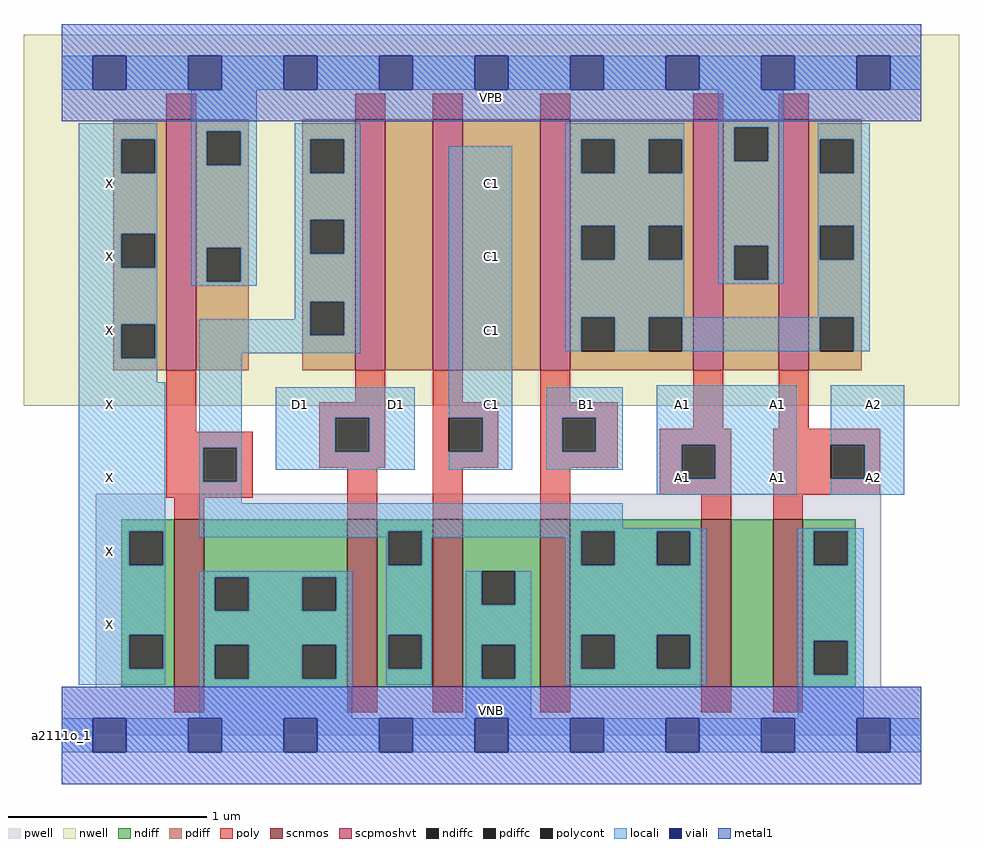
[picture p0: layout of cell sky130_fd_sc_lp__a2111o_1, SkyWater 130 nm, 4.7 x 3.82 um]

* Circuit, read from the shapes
.subckt sky130_fd_sc_lp__a2111o_1 A1 A2 B1 C1 D1 VGND VNB VPB VPWR X
XM1 VGND n1 X VNB sky130_fd_pr__nfet_01v8 w=0.84 l=0.15
XM2 n1 D1 VGND VNB sky130_fd_pr__nfet_01v8 w=0.84 l=0.15
XM3 VGND C1 n1 VNB sky130_fd_pr__nfet_01v8 w=0.84 l=0.15
XM4 n1 B1 VGND VNB sky130_fd_pr__nfet_01v8 w=0.84 l=0.15
XM5 n2 A1 n1 VNB sky130_fd_pr__nfet_01v8 w=0.84 l=0.15
XM6 VGND A2 n2 VNB sky130_fd_pr__nfet_01v8 w=0.84 l=0.15
XM7 VPWR n1 X VPB sky130_fd_pr__pfet_01v8_hvt w=1.26 l=0.15
XM8 n3 D1 n1 VPB sky130_fd_pr__pfet_01v8_hvt w=1.26 l=0.15
XM9 n4 C1 n3 VPB sky130_fd_pr__pfet_01v8_hvt w=1.26 l=0.15
XM10 n5 B1 n4 VPB sky130_fd_pr__pfet_01v8_hvt w=1.26 l=0.15
XM11 VPWR A1 n5 VPB sky130_fd_pr__pfet_01v8_hvt w=1.26 l=0.15
XM12 n5 A2 VPWR VPB sky130_fd_pr__pfet_01v8_hvt w=1.26 l=0.15
.ends

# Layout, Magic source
magic
tech sky130A
magscale 1 2
<< nwell >>
rect -38 331 902 704
<< pwell >>
rect 34 49 824 243
rect 0 0 864 49
<< scnmos >>
rect 113 49 143 217
rect 287 49 317 217
rect 373 49 403 217
rect 481 49 511 217
rect 643 49 673 217
rect 715 49 745 217
<< scpmoshvt >>
rect 105 367 135 619
rect 295 367 325 619
rect 373 367 403 619
rect 481 367 511 619
rect 635 367 665 619
rect 721 367 751 619
<< ndiff >>
rect 60 205 113 217
rect 60 171 68 205
rect 102 171 113 205
rect 60 101 113 171
rect 60 67 68 101
rect 102 67 113 101
rect 60 49 113 67
rect 143 159 287 217
rect 143 125 154 159
rect 188 125 242 159
rect 276 125 287 159
rect 143 91 287 125
rect 143 57 154 91
rect 188 57 242 91
rect 276 57 287 91
rect 143 49 287 57
rect 317 205 373 217
rect 317 171 328 205
rect 362 171 373 205
rect 317 101 373 171
rect 317 67 328 101
rect 362 67 373 101
rect 317 49 373 67
rect 403 165 481 217
rect 403 131 422 165
rect 456 131 481 165
rect 403 91 481 131
rect 403 57 422 91
rect 456 57 481 91
rect 403 49 481 57
rect 511 205 643 217
rect 511 171 522 205
rect 556 171 598 205
rect 632 171 643 205
rect 511 101 643 171
rect 511 67 522 101
rect 556 67 598 101
rect 632 67 643 101
rect 511 49 643 67
rect 673 49 715 217
rect 745 205 798 217
rect 745 171 756 205
rect 790 171 798 205
rect 745 95 798 171
rect 745 61 756 95
rect 790 61 798 95
rect 745 49 798 61
<< pdiff >>
rect 52 599 105 619
rect 52 565 60 599
rect 94 565 105 599
rect 52 504 105 565
rect 52 470 60 504
rect 94 470 105 504
rect 52 413 105 470
rect 52 379 60 413
rect 94 379 105 413
rect 52 367 105 379
rect 135 607 188 619
rect 135 573 146 607
rect 180 573 188 607
rect 135 490 188 573
rect 135 456 146 490
rect 180 456 188 490
rect 135 367 188 456
rect 242 599 295 619
rect 242 565 250 599
rect 284 565 295 599
rect 242 518 295 565
rect 242 484 250 518
rect 284 484 295 518
rect 242 436 295 484
rect 242 402 250 436
rect 284 402 295 436
rect 242 367 295 402
rect 325 367 373 619
rect 403 367 481 619
rect 511 599 635 619
rect 511 565 522 599
rect 556 565 590 599
rect 624 565 635 599
rect 511 512 635 565
rect 511 478 522 512
rect 556 478 590 512
rect 624 478 635 512
rect 511 420 635 478
rect 511 386 522 420
rect 556 386 590 420
rect 624 386 635 420
rect 511 367 635 386
rect 665 611 721 619
rect 665 577 676 611
rect 710 577 721 611
rect 665 492 721 577
rect 665 458 676 492
rect 710 458 721 492
rect 665 367 721 458
rect 751 599 804 619
rect 751 565 762 599
rect 796 565 804 599
rect 751 512 804 565
rect 751 478 762 512
rect 796 478 804 512
rect 751 420 804 478
rect 751 386 762 420
rect 796 386 804 420
rect 751 367 804 386
<< ndiffc >>
rect 68 171 102 205
rect 68 67 102 101
rect 154 125 188 159
rect 242 125 276 159
rect 154 57 188 91
rect 242 57 276 91
rect 328 171 362 205
rect 328 67 362 101
rect 422 131 456 165
rect 422 57 456 91
rect 522 171 556 205
rect 598 171 632 205
rect 522 67 556 101
rect 598 67 632 101
rect 756 171 790 205
rect 756 61 790 95
<< pdiffc >>
rect 60 565 94 599
rect 60 470 94 504
rect 60 379 94 413
rect 146 573 180 607
rect 146 456 180 490
rect 250 565 284 599
rect 250 484 284 518
rect 250 402 284 436
rect 522 565 556 599
rect 590 565 624 599
rect 522 478 556 512
rect 590 478 624 512
rect 522 386 556 420
rect 590 386 624 420
rect 676 577 710 611
rect 676 458 710 492
rect 762 565 796 599
rect 762 478 796 512
rect 762 386 796 420
<< poly >>
rect 105 619 135 645
rect 295 619 325 645
rect 373 619 403 645
rect 481 619 511 645
rect 635 619 665 645
rect 721 619 751 645
rect 105 305 135 367
rect 295 335 325 367
rect 259 319 325 335
rect 105 289 192 305
rect 105 255 142 289
rect 176 255 192 289
rect 259 285 275 319
rect 309 285 325 319
rect 259 269 325 285
rect 373 335 403 367
rect 481 335 511 367
rect 373 319 439 335
rect 373 285 389 319
rect 423 285 439 319
rect 373 269 439 285
rect 481 319 559 335
rect 481 285 503 319
rect 537 285 559 319
rect 635 308 665 367
rect 721 308 751 367
rect 481 269 559 285
rect 601 292 673 308
rect 105 239 192 255
rect 113 217 143 239
rect 287 217 317 269
rect 373 217 403 269
rect 481 217 511 269
rect 601 258 623 292
rect 657 258 673 292
rect 601 242 673 258
rect 643 217 673 242
rect 715 292 823 308
rect 715 258 773 292
rect 807 258 823 292
rect 715 242 823 258
rect 715 217 745 242
rect 113 23 143 49
rect 287 23 317 49
rect 373 23 403 49
rect 481 23 511 49
rect 643 23 673 49
rect 715 23 745 49
<< polycont >>
rect 142 255 176 289
rect 275 285 309 319
rect 389 285 423 319
rect 503 285 537 319
rect 623 258 657 292
rect 773 258 807 292
<< locali >>
rect 0 649 31 683
rect 65 649 127 683
rect 161 649 223 683
rect 257 649 319 683
rect 353 649 415 683
rect 449 649 511 683
rect 545 649 607 683
rect 641 649 703 683
rect 737 649 799 683
rect 833 649 864 683
rect 17 599 96 615
rect 17 565 60 599
rect 94 565 96 599
rect 17 504 96 565
rect 17 470 60 504
rect 94 470 96 504
rect 17 413 96 470
rect 130 607 196 649
rect 130 573 146 607
rect 180 573 196 607
rect 130 490 196 573
rect 130 456 146 490
rect 180 456 196 490
rect 130 452 196 456
rect 234 599 300 615
rect 234 565 250 599
rect 284 565 300 599
rect 506 599 626 615
rect 234 518 300 565
rect 234 484 250 518
rect 284 484 300 518
rect 234 436 300 484
rect 234 418 250 436
rect 17 379 60 413
rect 94 379 96 413
rect 17 355 96 379
rect 138 402 250 418
rect 284 402 300 436
rect 138 384 300 402
rect 17 205 104 355
rect 17 171 68 205
rect 102 171 104 205
rect 138 289 181 384
rect 138 255 142 289
rect 176 255 181 289
rect 215 319 355 350
rect 215 285 275 319
rect 309 285 355 319
rect 215 267 355 285
rect 389 319 453 592
rect 506 565 522 599
rect 556 565 590 599
rect 624 565 626 599
rect 506 512 626 565
rect 506 478 522 512
rect 556 478 590 512
rect 624 478 626 512
rect 506 420 626 478
rect 660 611 726 649
rect 660 577 676 611
rect 710 577 726 611
rect 660 492 726 577
rect 660 458 676 492
rect 710 458 726 492
rect 660 454 726 458
rect 760 599 812 615
rect 760 565 762 599
rect 796 565 812 599
rect 760 512 812 565
rect 760 478 762 512
rect 796 478 812 512
rect 760 420 812 478
rect 506 386 522 420
rect 556 386 590 420
rect 624 386 762 420
rect 796 386 812 420
rect 423 285 453 319
rect 389 267 453 285
rect 487 319 564 350
rect 487 285 503 319
rect 537 285 564 319
rect 487 267 564 285
rect 598 292 739 352
rect 138 233 181 255
rect 598 258 623 292
rect 657 258 739 292
rect 598 242 739 258
rect 773 292 847 352
rect 807 258 847 292
rect 773 242 847 258
rect 138 208 564 233
rect 138 205 648 208
rect 138 199 328 205
rect 17 101 104 171
rect 326 171 328 199
rect 362 199 522 205
rect 362 171 372 199
rect 17 67 68 101
rect 102 67 104 101
rect 17 51 104 67
rect 138 159 292 165
rect 138 125 154 159
rect 188 125 242 159
rect 276 125 292 159
rect 138 91 292 125
rect 138 57 154 91
rect 188 57 242 91
rect 276 57 292 91
rect 138 17 292 57
rect 326 101 372 171
rect 506 171 522 199
rect 556 171 598 205
rect 632 171 648 205
rect 326 67 328 101
rect 362 67 372 101
rect 326 51 372 67
rect 406 131 422 165
rect 456 131 472 165
rect 406 91 472 131
rect 406 57 422 91
rect 456 57 472 91
rect 406 17 472 57
rect 506 101 648 171
rect 506 67 522 101
rect 556 67 598 101
rect 632 67 648 101
rect 506 51 648 67
rect 740 205 806 208
rect 740 171 756 205
rect 790 171 806 205
rect 740 95 806 171
rect 740 61 756 95
rect 790 61 806 95
rect 740 17 806 61
rect 0 -17 31 17
rect 65 -17 127 17
rect 161 -17 223 17
rect 257 -17 319 17
rect 353 -17 415 17
rect 449 -17 511 17
rect 545 -17 607 17
rect 641 -17 703 17
rect 737 -17 799 17
rect 833 -17 864 17
<< viali >>
rect 31 649 65 683
rect 127 649 161 683
rect 223 649 257 683
rect 319 649 353 683
rect 415 649 449 683
rect 511 649 545 683
rect 607 649 641 683
rect 703 649 737 683
rect 799 649 833 683
rect 31 -17 65 17
rect 127 -17 161 17
rect 223 -17 257 17
rect 319 -17 353 17
rect 415 -17 449 17
rect 511 -17 545 17
rect 607 -17 641 17
rect 703 -17 737 17
rect 799 -17 833 17
<< metal1 >>
rect 0 683 864 715
rect 0 649 31 683
rect 65 649 127 683
rect 161 649 223 683
rect 257 649 319 683
rect 353 649 415 683
rect 449 649 511 683
rect 545 649 607 683
rect 641 649 703 683
rect 737 649 799 683
rect 833 649 864 683
rect 0 617 864 649
rect 0 17 864 49
rect 0 -17 31 17
rect 65 -17 127 17
rect 161 -17 223 17
rect 257 -17 319 17
rect 353 -17 415 17
rect 449 -17 511 17
rect 545 -17 607 17
rect 641 -17 703 17
rect 737 -17 799 17
rect 833 -17 864 17
rect 0 -49 864 -17
<< labels >>
flabel pwell s 0 0 864 49 0 FreeSans 200 0 0 0 VNB
port 7 nsew ground bidirectional
flabel nwell s 0 617 864 666 0 FreeSans 200 0 0 0 VPB
port 8 nsew power bidirectional
rlabel comment s 0 0 0 0 4 a2111o_1
flabel metal1 s 0 617 864 666 0 FreeSans 340 0 0 0 VPWR
port 9 nsew power bidirectional
flabel metal1 s 0 0 864 49 0 FreeSans 340 0 0 0 VGND
port 6 nsew ground bidirectional
flabel locali s 607 242 641 276 0 FreeSans 340 0 0 0 A1
port 1 nsew signal input
flabel locali s 607 316 641 350 0 FreeSans 340 0 0 0 A1
port 1 nsew signal input
flabel locali s 703 242 737 276 0 FreeSans 340 0 0 0 A1
port 1 nsew signal input
flabel locali s 703 316 737 350 0 FreeSans 340 0 0 0 A1
port 1 nsew signal input
flabel locali s 799 242 833 276 0 FreeSans 340 0 0 0 A2
port 2 nsew signal input
flabel locali s 799 316 833 350 0 FreeSans 340 0 0 0 A2
port 2 nsew signal input
flabel locali s 511 316 545 350 0 FreeSans 340 0 0 0 B1
port 3 nsew signal input
flabel locali s 415 316 449 350 0 FreeSans 340 0 0 0 C1
port 4 nsew signal input
flabel locali s 415 390 449 424 0 FreeSans 340 0 0 0 C1
port 4 nsew signal input
flabel locali s 415 464 449 498 0 FreeSans 340 0 0 0 C1
port 4 nsew signal input
flabel locali s 415 538 449 572 0 FreeSans 340 0 0 0 C1
port 4 nsew signal input
flabel locali s 31 94 65 128 0 FreeSans 340 0 0 0 X
port 10 nsew signal output
flabel locali s 31 168 65 202 0 FreeSans 340 0 0 0 X
port 10 nsew signal output
flabel locali s 31 242 65 276 0 FreeSans 340 0 0 0 X
port 10 nsew signal output
flabel locali s 31 316 65 350 0 FreeSans 340 0 0 0 X
port 10 nsew signal output
flabel locali s 31 390 65 424 0 FreeSans 340 0 0 0 X
port 10 nsew signal output
flabel locali s 31 464 65 498 0 FreeSans 340 0 0 0 X
port 10 nsew signal output
flabel locali s 31 538 65 572 0 FreeSans 340 0 0 0 X
port 10 nsew signal output
flabel locali s 223 316 257 350 0 FreeSans 340 0 0 0 D1
port 5 nsew signal input
flabel locali s 319 316 353 350 0 FreeSans 340 0 0 0 D1
port 5 nsew signal input
<< properties >>
string LEFsite unit
string LEFclass CORE
string FIXED_BBOX 0 0 864 666
string GDS_FILE $PDKPATH/libs.ref/sky130_fd_sc_lp/gds/sky130_fd_sc_lp.gds
string LEFsymmetry X Y R90
string GDS_END 1095350
string GDS_START 1085984
<< end >>
